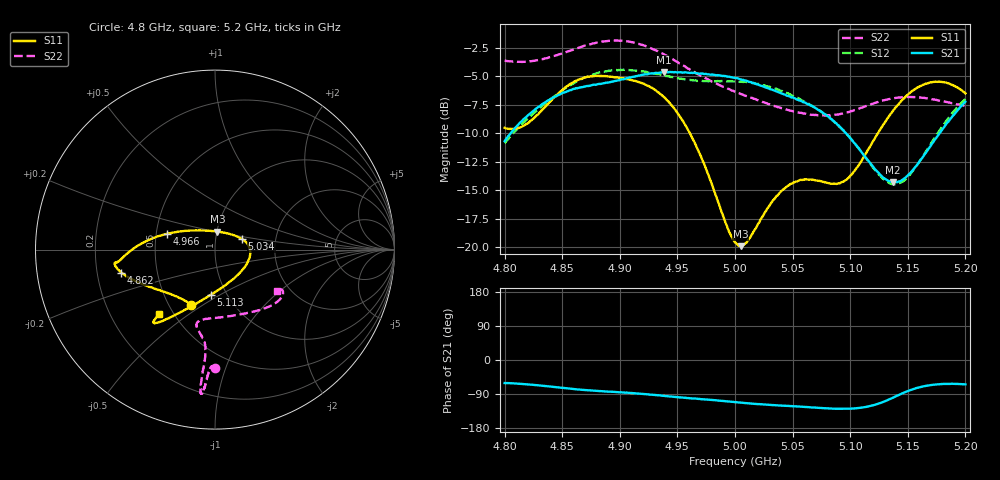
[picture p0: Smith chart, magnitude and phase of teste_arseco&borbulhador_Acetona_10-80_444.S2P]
! Network Analyzer HP8722D
! Hewlett-Packard
! Data name: Linha & Wilkinson
! Saver's name: Rodrigo Anjos
! Comments: Teste da utilização de aquisição
! continua pelo VNA HP8722D
! Time and date: 17/4/2025 18:03
!  Frequency  S11  S21  S12  S22
# HZ  S  MA R 50
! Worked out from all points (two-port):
!   401 points, 4.8 GHz to 5.2 GHz, reference 50 ohm
!   highest |S21| = -4.63 dB at 4.938 GHz (marker M1); lowest = -14.3 dB at 5.137 GHz (marker M2)
!   |S21| within 3 dB of the highest: 4.83 GHz to 5.067 GHz (236.6 MHz wide, 4.78 % of centre); 5.196387 GHz to end of sweep
!   lowest |S11| = -19.9 dB at 5.005 GHz (marker M3), VSWR 1.22, Z = 50.4 + j10.2 ohm
!   |S11| at or under -10 dB: 4.961 GHz to 5.124 GHz (163.2 MHz wide, 3.24 % of centre)
!   |S22| runs from -8.5 to -1.9 dB; largest |S21 - S12| = 0.88
!   S11 on the Smith chart (normalised r, x): 4.8 GHz: 0.65, -0.44; 4.862 GHz: 0.30, -0.11; 4.966 GHz: 0.57, +0.11; 5.034 GHz: 1.35, +0.16; 5.113 GHz: 0.84, -0.45; 5.2 GHz: 0.42, -0.39
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4.8e9  0.3338 -113.5  0.2916 -60.7  0.2859 -175.0  0.6588 -90.0
4.819e9  0.3471 -133.5  0.3736 -64.1  0.3614 -173.7  0.652 -91.6
4.862e9  0.5374 -166.2  0.499 -77.1  0.532 -176.9  0.7443 -94.0
4.867e9  0.55 -168.2  0.5038 -78.7  0.5467 -178.0  0.7579 -94.1
4.9e9  0.5533 -172.7  0.5407 -85.2  0.5984 175.5  0.8042 -95.5
4.934e9  0.4759 -178.8  0.5818 -93.5  0.5743 171.9  0.7174 -95.8
4.938e9  0.4566 179.5  0.5868 -94.7  0.5671 171.7  0.7023 -95.8
4.953e9  0.369 171.4  0.5857 -98.6  0.5491 172.5  0.6373 -95.5
4.966e9  0.2798 161.6  0.5793 -101.8  0.5387 173.8  0.5811 -95.2
5e9  0.1048 99.4  0.5525 -111.2  0.5343 176.1  0.4811 -99.3
5.005e9  0.1009 82.2  0.5447 -112.5  0.5324 176.2  0.47 -100.5
5.012e9  0.1082 60.1  0.5313 -114.3  0.5268 175.9  0.4555 -102.1
5.034e9  0.1622 21.0  0.4864 -119.2  0.4975 174.7  0.4162 -103.7
5.05e9  0.1905 4.7  0.454 -121.9  0.4614 174.0  0.395 -99.7
5.067e9  0.1975 -13.5  0.4157 -125.1  0.4167 173.6  0.3805 -90.7
5.093e9  0.193 -58.1  0.3295 -128.7  0.3282 174.2  0.3853 -70.5
5.113e9  0.2542 -95.6  0.2486 -124.2  0.2488 -179.6  0.4143 -54.9
5.134e9  0.3771 -116.9  0.1945 -103.8  0.1906 -156.8  0.4466 -43.0
5.137e9  0.395 -118.6  0.192 -99.7  0.1893 -151.9  0.4495 -41.6
5.15e9  0.4668 -124.5  0.2064 -82.2  0.2034 -131.8  0.4556 -36.7
5.17e9  0.5288 -129.2  0.2782 -66.1  0.284 -112.3  0.4469 -32.0
5.2e9  0.473 -131.0  0.4345 -64.3  0.4465 -106.6  0.4164 -33.4
